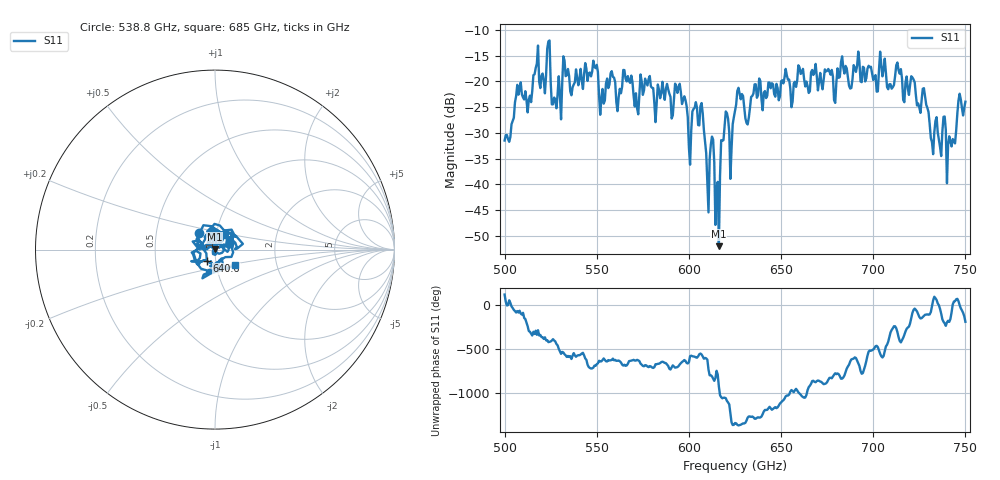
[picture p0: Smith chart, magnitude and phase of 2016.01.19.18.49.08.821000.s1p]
!Created with skrf (http://scikit-rf.org).
# GHz S RI R 50.0
!freq ReS11 ImS11
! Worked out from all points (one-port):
!   401 points, 500 GHz to 750 GHz, reference 50 ohm
!   lowest |S11| = -52.0 dB at 616.2 GHz (marker M1), VSWR 1.01, Z = 49.8 + j0.101 ohm
!   |S11| at or under -10 dB: start of sweep to end of sweep
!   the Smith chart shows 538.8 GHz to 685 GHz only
!   S11 on the Smith chart (normalised r, x): 538.8 GHz: 0.82, +0.15; 640.6 GHz: 0.91, -0.11; 685 GHz: 1.23, -0.22
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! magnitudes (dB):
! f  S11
! 500 GHz  -31.5
! 507.5 GHz  -22.6
! 513.8 GHz  -22.8
! 516.9 GHz  -17.4
! 520.6 GHz  -18.5
! 523.8 GHz  -12.3
! 526.9 GHz  -23.1
! 531.2 GHz  -20.4
! 538.8 GHz  -17.7
! 562.5 GHz  -21.5
! 593.8 GHz  -22.2
! 600 GHz  -32.8
! 606.9 GHz  -24.2
! 610 GHz  -39.5
! 612.5 GHz  -30.7
! 615 GHz  -40.8
! 616.2 GHz  -52.0
! 618.8 GHz  -31.4
! 623.1 GHz  -33.1
! 625 GHz  -25.8
! 640.6 GHz  -22.2
! 656.2 GHz  -23.9
! 685 GHz  -17.0
! 687.5 GHz  -21.4
! 705 GHz  -19.0
! 718.8 GHz  -21.4
! 741.2 GHz  -30.7
! 750 GHz  -24.0
